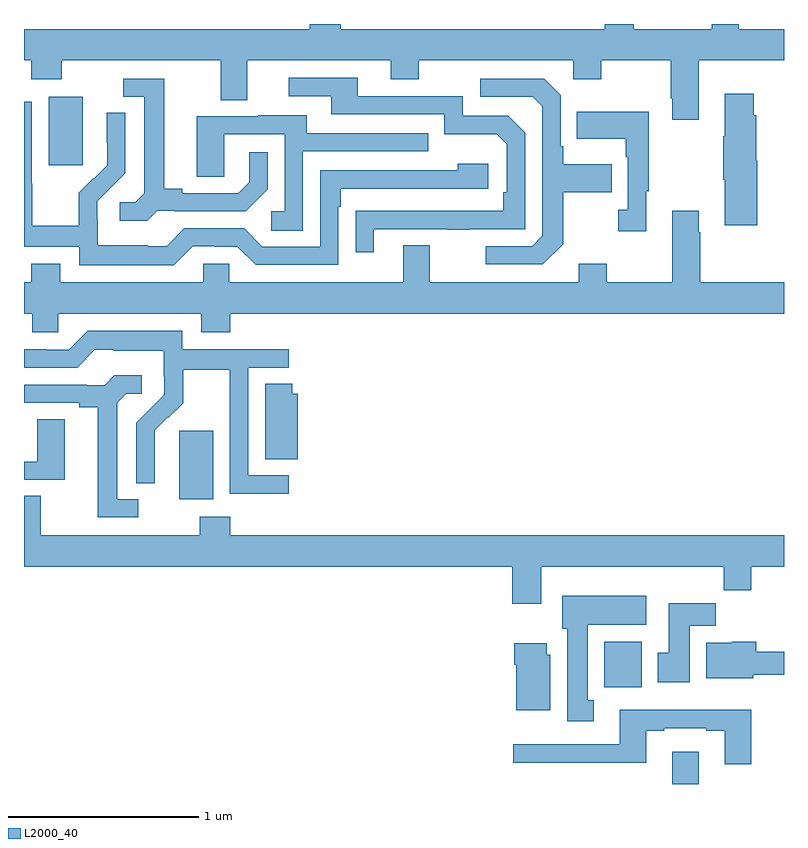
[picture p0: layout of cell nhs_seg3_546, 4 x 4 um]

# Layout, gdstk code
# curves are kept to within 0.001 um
import gdstk
lib = gdstk.Library(unit=1e-6, precision=1e-09)
def R(c, l, rs):  # rectangles x0, y0, x1, y1
    for r in rs: c.add(gdstk.rectangle(r[:2], r[2:], *l))
def P(c, l, *ps):  # polygons
    for p in ps: c.add(gdstk.Polygon(p, *l))
L2000_40 = (2000, 40)

nhs_seg3_546 = lib.new_cell('nhs_seg3_546')
R(nhs_seg3_546, L2000_40, [(140.411,738.4,140.551,738.571), (140.054,738.908,140.251,739.15), (137.816,739.898,137.995,740.259), (137.129,741.657,137.308,742.018)])
P(nhs_seg3_546, L2000_40, [(140.551,742.208),(141,742.208),(141,742.372),(140.761,742.372),(140.761,742.4),(140.621,742.4),(140.621,742.372),(140.209,742.372),(140.209,742.4),(140.057,742.4),(140.057,742.372),(138.668,742.372),(138.668,742.4),(138.503,742.4),(138.503,742.372),(137,742.372),(137,742.208),(137.039,742.208),(137.039,742.109),(137.199,742.109),(137.199,742.208),(138.035,742.208),(138.035,742),(138.175,742),(138.175,742.208),(138.929,742.208),(138.929,742.109),(139.077,742.109),(139.077,742.208),(139.89,742.208),(139.89,742.109),(140.037,742.109),(140.037,742.208),(140.404,742.208),(140.404,742.009),(140.411,742.009),(140.411,741.897),(140.551,741.897)],
  [(138.841,741.321),(139.231,741.321),(139.231,741.316),(139.343,741.316),(139.343,741.321),(139.638,741.321),(139.638,741.828),(139.548,741.918),(139.308,741.918),(139.308,742.02),(138.757,742.02),(138.757,742.116),(138.393,742.116),(138.393,742.02),(138.617,742.02),(138.617,741.924),(139.212,741.924),(139.212,741.821),(139.489,741.821),(139.542,741.768),(139.542,741.514),(139.522,741.514),(139.522,741.417),(138.745,741.416),(138.745,741.198),(138.841,741.198)],
  [(137.7,741.417),(137.794,741.417),(137.794,741.414),(138.166,741.414),(138.282,741.53),(138.282,741.724),(138.185,741.724),(138.185,741.567),(138.128,741.51),(137.833,741.51),(137.833,741.533),(137.737,741.533),(137.737,742.113),(137.523,742.113),(137.523,742.017),(137.633,742.017),(137.633,741.509),(137.586,741.462),(137.505,741.462),(137.505,741.365),(137.648,741.365)],
  [(139.837,741.241),(139.837,741.514),(140.093,741.514),(140.093,741.661),(139.837,741.661),(139.837,741.757),(139.824,741.757),(139.824,742.026),(139.737,742.113),(139.401,742.113),(139.401,742.017),(139.677,742.017),(139.728,741.966),(139.728,741.285),(139.674,741.231),(139.431,741.231),(139.431,741.135),(139.731,741.135)],
  [(140.86,741.681),(140.855,741.681),(140.855,741.92),(140.842,741.92),(140.842,742.033),(140.687,742.033),(140.687,741.809),(140.68,741.809),(140.68,741.581),(140.687,741.581),(140.687,741.341),(140.86,741.341)],
  [(137.889,741.231),(138.005,741.231),(138.005,741.228),(138.123,741.228),(138.219,741.132),(138.654,741.132),(138.654,741.437),(138.667,741.437),(138.667,741.534),(139.444,741.534),(139.444,741.664),(139.283,741.664),(139.283,741.63),(138.558,741.63),(138.558,741.228),(138.255,741.228),(138.159,741.324),(137.844,741.324),(137.751,741.231),(137.651,741.231),(137.651,741.235),(137.388,741.235),(137.388,741.369),(137.386,741.369),(137.386,741.466),(137.532,741.614),(137.532,741.932),(137.436,741.932),(137.436,741.778),(137.438,741.778),(137.438,741.656),(137.367,741.585),(137.364,741.588),(137.287,741.511),(137.287,741.337),(137.043,741.337),(137.043,741.56),(137.04,741.56),(137.04,741.99),(137,741.99),(137,741.228),(137.292,741.228),(137.292,741.131),(137.789,741.131)],
  [(140.275,741.521),(140.287,741.521),(140.287,741.937),(139.909,741.937),(139.909,741.797),(140.166,741.797),(140.166,741.701),(140.178,741.701),(140.178,741.422),(140.127,741.422),(140.127,741.309),(140.275,741.309)],
  [(138.468,741.729),(139.127,741.729),(139.127,741.825),(138.487,741.825),(138.487,741.919),(138.233,741.919),(138.233,741.915),(137.909,741.915),(137.909,741.595),(138.054,741.595),(138.054,741.819),(138.372,741.819),(138.372,741.414),(138.3,741.414),(138.3,741.313),(138.468,741.313)],
  [(138.086,740.876),(141,740.876),(141,741.04),(140.559,741.04),(140.559,741.305),(140.551,741.305),(140.551,741.418),(140.411,741.418),(140.411,741.04),(140.067,741.04),(140.067,741.139),(139.919,741.139),(139.919,741.04),(139.135,741.04),(139.135,741.235),(138.995,741.235),(138.995,741.04),(138.081,741.04),(138.081,741.138),(137.943,741.138),(137.943,741.04),(137.191,741.04),(137.191,741.139),(137.039,741.139),(137.039,741.04),(137,741.04),(137,740.876),(137.043,740.876),(137.043,740.778),(137.181,740.778),(137.181,740.876),(137.933,740.876),(137.933,740.777),(138.086,740.777)],
  [(138.394,740.025),(138.18,740.025),(138.18,740.592),(138.394,740.592),(138.394,740.688),(137.832,740.688),(137.832,740.785),(137.335,740.785),(137.235,740.685),(137.12,740.685),(137.12,740.688),(137,740.689),(137,740.592),(137.28,740.592),(137.373,740.685),(137.473,740.685),(137.473,740.681),(137.736,740.681),(137.736,740.547),(137.738,740.547),(137.738,740.45),(137.592,740.302),(137.592,739.984),(137.688,739.984),(137.687,740.261),(137.757,740.331),(137.76,740.328),(137.837,740.405),(137.837,740.58),(138.082,740.58),(138.082,740.356),(138.084,740.356),(138.084,739.927),(138.394,739.927)],
  [(137.602,739.899),(137.491,739.899),(137.491,740.407),(137.538,740.454),(137.62,740.454),(137.62,740.551),(137.476,740.551),(137.424,740.499),(137.33,740.499),(137.33,740.502),(137,740.502),(137,740.406),(137.291,740.406),(137.291,740.384),(137.387,740.384),(137.387,739.803),(137.602,739.803)],
  [(138.44,740.454),(138.413,740.454),(138.413,740.507),(138.269,740.507),(138.269,740.11),(138.44,740.11)],
  [(137.215,740.321),(137.07,740.321),(137.07,740.097),(137,740.097),(137,740.001),(137.215,740.001)],
  [(139.723,739.544),(140.683,739.544),(140.683,739.42),(140.827,739.42),(140.827,739.544),(141,739.544),(141,739.708),(138.086,739.708),(138.086,739.807),(137.926,739.807),(137.926,739.708),(137.089,739.708),(137.089,739.916),(137,739.916),(137,739.544),(139.571,739.544),(139.571,739.35),(139.723,739.35)],
  [(139.999,738.842),(139.966,738.842),(139.966,739.238),(140.275,739.238),(140.275,739.39),(139.832,739.39),(139.832,739.218),(139.859,739.218),(139.859,738.729),(139.999,738.729)],
  [(140.503,739.232),(140.642,739.232),(140.642,739.351),(140.393,739.351),(140.393,739.092),(140.336,739.092),(140.336,738.936),(140.503,738.936)],
  [(140.838,738.974),(141,738.974),(141,739.096),(140.855,739.096),(140.855,739.15),(140.724,739.15),(140.724,739.144),(140.591,739.144),(140.591,738.956),(140.838,738.956)],
  [(139.771,739.08),(139.75,739.08),(139.75,739.141),(139.58,739.141),(139.58,739.028),(139.592,739.028),(139.592,738.788),(139.771,738.788)],
  [(140.827,738.79),(140.135,738.79),(140.135,738.609),(139.575,738.609),(139.575,738.512),(140.275,738.512),(140.275,738.681),(140.371,738.681),(140.371,738.693),(140.591,738.693),(140.591,738.681),(140.687,738.681),(140.687,738.504),(140.827,738.504)])

lib.write_gds('nhs_seg3_546.gds')
